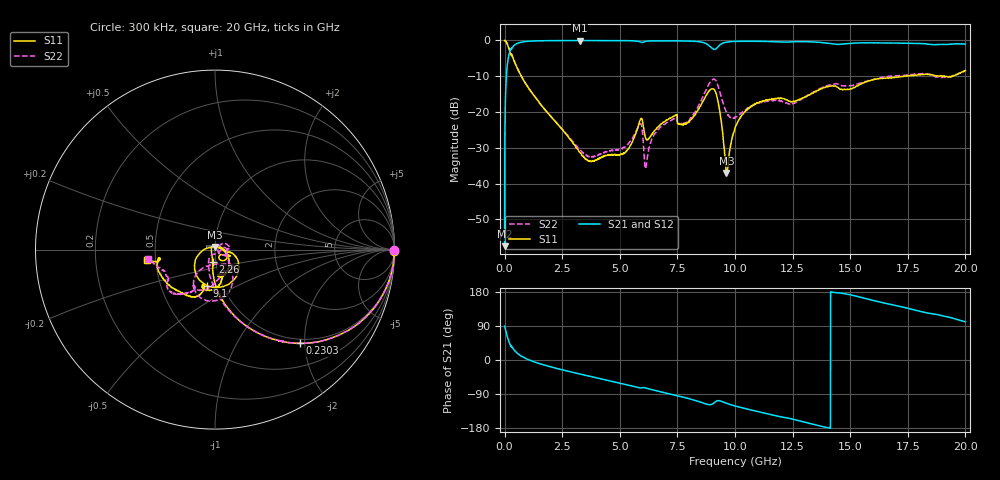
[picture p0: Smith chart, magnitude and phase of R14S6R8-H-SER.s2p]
!{R14S6R8}
!Johanson Technology Inc.
!www.johansontechnology.com
!Test Board Conditions:
!Substrate Type  RO4350B
!Substrate Thickness  20 mil
!Substrate Dk  3.66
!TL Type: GCPW
!TL Trace Width  36 mil
!TL Gap  12 mil
!Electrode orientation  Horizontal
!DUT TOPOLOGY	SERIES
!Mounting Pad LxW  26x36 mil
! Created Wed Nov 25 17:33:21 2020
! 2 Port Network Data from SP1.SP block
! freq  magS11  angS11  magS21  angS21  magS12  angS12  magS22  angS22
# khz S ma R 50
! decimated to every 10th point (10 MHz spacing) of the original 1 MHz Johanson file; values unchanged
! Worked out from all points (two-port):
!   2001 points, 300 kHz to 20 GHz, reference 50 ohm
!   highest |S21| = -0.03 dB at 3.27 GHz (marker M1); lowest = -57.5 dB at 300 kHz (marker M2)
!   |S21| within 3 dB of the highest: 230.7 MHz to end of sweep
!   lowest |S11| = -37.0 dB at 9.63 GHz (marker M3), VSWR 1.03, Z = 49.9 + j1.41 ohm
!   |S11| at or under -10 dB: 725.4 MHz to 17.36 GHz (16.63 GHz wide, 184 % of centre); 19.1 GHz to 19.43 GHz (322.1 MHz wide, 1.67 % of centre)
!   |S22| runs from -35.8 to 0.0 dB; largest |S21 - S12| = 0.02
!   S11 on the Smith chart (normalised r, x): 300 kHz: open; 230.3 MHz: 0.91, -1.89; 2.26 GHz: 0.96, -0.13; 9.1 GHz: 0.85, -0.36; 20 GHz: 0.45, -0.06
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300  0.996 -0.3  0.001341 89.1  0.001332 88.5  0.9971 -0.2
110300  0.9005 -27.1  0.4311 62.8  0.4322 62.7  0.9006 -27.0
230300  0.704 -47.9  0.7047 41.9  0.7058 41.8  0.7053 -47.7
780300  0.2941 -80.8  0.9524 8.2  0.9528 8.2  0.2946 -82.0
2260300  0.07034 -101.1  0.9939 -22.2  0.9938 -22.2  0.07019 -120.1
3270300  0.02729 -134.7  0.9961 -37.0  0.9951 -37.1  0.02968 -113.7
3340300  0.02525 -140.6  0.9956 -38.1  0.9948 -38.0  0.02823 -109.2
5170300  0.02701 53.6  0.9927 -63.2  0.9929 -63.2  0.03226 -5.6
5870300  0.07577 -22.5  0.956 -73.7  0.9564 -73.7  0.06874 -3.9
6150300  0.04143 -54.9  0.9746 -74.4  0.9747 -74.3  0.01801 20.2
6670300  0.06216 -31.3  0.988 -82.3  0.9875 -82.4  0.05714 37.3
7390300  0.08908 -23.8  0.9851 -92.6  0.9843 -92.6  0.08222 10.3
7940300  0.0713 -12.2  0.9808 -101.0  0.9801 -100.9  0.07313 -24.1
8760300  0.1722 -40.2  0.8969 -116.4  0.8957 -116.4  0.2081 -62.0
9100300  0.2057 -102.5  0.7485 -112.9  0.7493 -112.9  0.2882 -99.1
9320300  0.1126 -157.1  0.8535 -107.4  0.856 -107.6  0.2022 -125.5
9630300  0.0141 93.1  0.9464 -114.2  0.9462 -114.3  0.09942 -113.8
1.00003e7  0.05924 -13.6  0.9677 -121.1  0.9671 -121.2  0.08377 -75.5
1.10003e7  0.1353 -58.6  0.9712 -136.2  0.9716 -136.1  0.1319 -40.9
1.33403e7  0.1824 -79.0  0.9542 -168.8  0.9558 -168.8  0.1839 -89.5
1.66703e7  0.2959 -123.1  0.9211 147.8  0.9137 147.5  0.3155 -128.1
2e7  0.3815 -171.1  0.8884 100.8  0.8884 101.1  0.3749 -172.4
